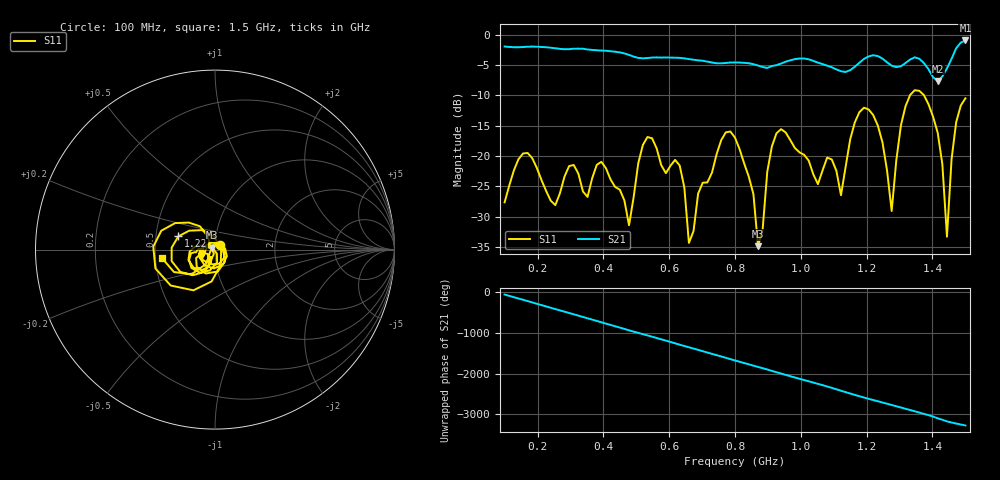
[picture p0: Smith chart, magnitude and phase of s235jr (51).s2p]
! NanoVNA-App
! Date: 2025-09-26 09:45:11
! Start: 100MHz Stop: 1,5GHz Points: 101
! S-Parameter data: F S11 S21 S12 S22
# Hz S RI R 50
!  Frequency  S11_Real  S11_Imag  S21_Real  S21_Imag  S12_Real  S12_Imag  S22_Real  S22_Imag
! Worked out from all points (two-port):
!   101 points, 100 MHz to 1.5 GHz, reference 50 ohm
!   highest |S21| = -0.96 dB at 1.5 GHz (marker M1); lowest = -7.7 dB at 1.416 GHz (marker M2)
!   |S21| within 3 dB of the highest: start of sweep to 651.4 MHz; 1.193 GHz to 1.248 GHz (54.79 MHz wide, 4.49 % of centre) (the widest 2 of 5)
!   lowest |S11| = -34.9 dB at 870 MHz (marker M3), VSWR 1.04, Z = 48.5 + j1 ohm
!   |S11| at or under -10 dB: start of sweep to 1.332 GHz; 1.374 GHz to end of sweep
!   S12 and S22 are empty: the file has one direction only
!   S11 on the Smith chart (normalised r, x): 100 MHz: 1.06, +0.06; 1.22 GHz: 0.65, +0.10; 1.5 GHz: 0.54, -0.06
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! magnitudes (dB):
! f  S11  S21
! 100 MHz  -27.7  -2.0
! 156 MHz  -19.6  -2.0
! 338 MHz  -25.9  -2.3
! 394 MHz  -21.0  -2.6
! 478 MHz  -31.4  -3.3
! 520 MHz  -18.2  -3.9
! 576 MHz  -21.5  -3.8
! 632 MHz  -21.6  -3.8
! 660 MHz  -34.4  -4.0
! 800 MHz  -17.0  -4.6
! 870 MHz  -34.9  -5.1
! 926 MHz  -16.3  -5.0
! 1.038 GHz  -23.0  -4.3
! 1.122 GHz  -26.5  -6.0
! 1.164 GHz  -14.5  -5.3
! 1.22 GHz  -13.3  -3.4
! 1.276 GHz  -29.1  -5.1
! 1.332 GHz  -10.0  -4.1
! 1.416 GHz  -16.2  -7.7
! 1.444 GHz  -33.3  -5.6
! 1.472 GHz  -14.4  -2.2
! 1.5 GHz  -10.5  -1.0
